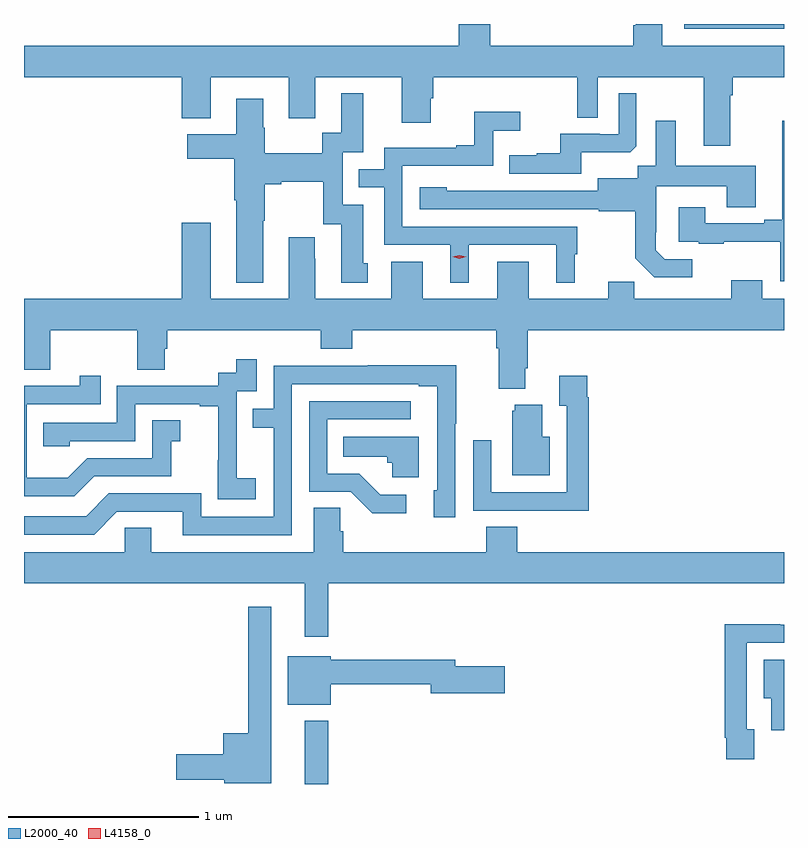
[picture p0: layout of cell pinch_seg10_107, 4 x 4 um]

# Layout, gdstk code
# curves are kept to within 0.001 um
import gdstk
lib = gdstk.Library(unit=1e-6, precision=1e-09)
def R(c, l, rs):  # rectangles x0, y0, x1, y1
    for r in rs: c.add(gdstk.rectangle(r[:2], r[2:], *l))
def P(c, l, *ps):  # polygons
    for p in ps: c.add(gdstk.Polygon(p, *l))
L2000_40 = (2000, 40)
L4158_0 = (4158, 0)

pinch_seg10_107 = lib.new_cell('pinch_seg10_107')
R(pinch_seg10_107, L2000_40, [(673.283,1289.935,673.405,1290.268), (675.279,1293.909,675.805,1293.935)])
P(pinch_seg10_107, L2000_40, [(675.523,1293.56),(675.536,1293.56),(675.536,1293.656),(675.805,1293.656),(675.805,1293.82),(675.163,1293.82),(675.163,1293.935),(675.024,1293.935),(675.024,1293.929),(675.011,1293.929),(675.011,1293.82),(674.258,1293.82),(674.258,1293.935),(674.093,1293.935),(674.093,1293.82),(671.805,1293.82),(671.805,1293.656),(672.635,1293.656),(672.635,1293.44),(672.787,1293.44),(672.787,1293.656),(673.199,1293.656),(673.199,1293.438),(673.339,1293.438),(673.339,1293.656),(673.793,1293.656),(673.793,1293.414),(673.945,1293.414),(673.945,1293.543),(673.958,1293.543),(673.958,1293.656),(674.718,1293.656),(674.718,1293.442),(674.826,1293.442),(674.826,1293.656),(675.383,1293.656),(675.383,1293.294),(675.523,1293.294)],
  [(674.737,1293.26),(674.995,1293.26),(675.027,1293.291),(675.027,1293.571),(674.934,1293.571),(674.934,1293.354),(674.834,1293.354),(674.834,1293.357),(674.627,1293.357),(674.627,1293.256),(674.503,1293.256),(674.503,1293.244),(674.359,1293.244),(674.359,1293.147),(674.737,1293.147)],
  [(673.063,1292.899),(673.071,1292.899),(673.071,1293.092),(673.159,1293.092),(673.159,1293.104),(673.379,1293.104),(673.379,1292.88),(673.475,1292.88),(673.475,1292.574),(673.615,1292.574),(673.615,1292.676),(673.591,1292.676),(673.591,1292.985),(673.482,1292.985),(673.482,1293.261),(673.591,1293.261),(673.591,1293.571),(673.475,1293.571),(673.475,1293.362),(673.374,1293.362),(673.374,1293.256),(673.071,1293.256),(673.071,1293.39),(673.063,1293.39),(673.063,1293.541),(672.923,1293.541),(672.923,1293.355),(672.663,1293.355),(672.663,1293.226),(672.911,1293.226),(672.911,1293.008),(672.923,1293.008),(672.923,1292.573),(673.063,1292.573)],
  [(674.146,1292.772),(674.606,1292.772),(674.606,1292.573),(674.704,1292.573),(674.704,1292.724),(674.716,1292.724),(674.716,1292.868),(673.797,1292.868),(673.797,1293.189),(674.274,1293.189),(674.274,1293.374),(674.416,1293.374),(674.416,1293.473),(674.176,1293.473),(674.176,1293.298),(674.081,1293.298),(674.081,1293.285),(673.701,1293.285),(673.701,1293.171),(673.567,1293.171),(673.567,1293.075),(673.701,1293.075),(673.701,1292.772),(674.048,1292.772),(674.048,1292.573),(674.146,1292.573)],
  [(675.322,1292.697),(675.177,1292.697),(675.13,1292.744),(675.13,1292.839),(675.132,1292.839),(675.132,1293.08),(675.503,1293.08),(675.503,1292.971),(675.655,1292.971),(675.655,1293.19),(675.235,1293.19),(675.235,1293.427),(675.131,1293.427),(675.131,1293.188),(675.036,1293.188),(675.036,1293.124),(674.825,1293.124),(674.825,1293.057),(674.031,1293.058),(674.031,1293.076),(673.887,1293.076),(673.887,1292.961),(674.829,1292.961),(674.829,1292.949),(675.021,1292.949),(675.021,1292.703),(675.121,1292.603),(675.322,1292.603)],
  [(675.805,1293.427),(675.797,1293.427),(675.797,1292.905),(675.701,1292.905),(675.701,1292.886),(675.391,1292.886),(675.391,1292.971),(675.251,1292.971),(675.251,1292.79),(675.355,1292.79),(675.355,1292.778),(675.487,1292.778),(675.487,1292.789),(675.786,1292.789),(675.786,1292.58),(675.805,1292.58)],
  [(674.443,1292.122),(674.456,1292.122),(674.456,1292.324),(675.805,1292.324),(675.805,1292.488),(675.691,1292.488),(675.691,1292.587),(675.527,1292.587),(675.527,1292.488),(675.017,1292.488),(675.017,1292.579),(674.879,1292.579),(674.879,1292.488),(674.461,1292.488),(674.461,1292.683),(674.297,1292.683),(674.297,1292.488),(673.903,1292.488),(673.903,1292.683),(673.739,1292.683),(673.739,1292.488),(673.339,1292.488),(673.339,1292.699),(673.336,1292.699),(673.336,1292.812),(673.199,1292.812),(673.199,1292.488),(672.787,1292.488),(672.787,1292.89),(672.635,1292.89),(672.635,1292.488),(671.805,1292.488),(671.805,1292.116),(671.943,1292.116),(671.943,1292.324),(672.4,1292.324),(672.4,1292.116),(672.547,1292.116),(672.547,1292.226),(672.56,1292.226),(672.56,1292.324),(673.367,1292.324),(673.367,1292.225),(673.532,1292.225),(673.532,1292.324),(674.291,1292.324),(674.291,1292.228),(674.303,1292.228),(674.303,1292.015),(674.443,1292.015)],
  [(673.024,1291.543),(672.926,1291.543),(672.926,1291.772),(672.924,1291.772),(672.924,1292.001),(673.029,1292.001),(673.029,1292.17),(672.921,1292.17),(672.921,1292.1),(672.828,1292.1),(672.828,1292.031),(672.294,1292.031),(672.294,1291.836),(671.905,1291.836),(671.905,1291.713),(672.045,1291.713),(672.045,1291.74),(672.39,1291.74),(672.39,1291.935),(672.731,1291.935),(672.731,1291.923),(672.827,1291.923),(672.827,1291.639),(672.826,1291.639),(672.826,1291.433),(673.024,1291.433)],
  [(673.215,1292.04),(673.883,1292.04),(673.883,1292.028),(673.98,1292.028),(673.98,1291.482),(673.961,1291.482),(673.961,1291.338),(674.076,1291.338),(674.076,1291.831),(674.079,1291.831),(674.079,1292.138),(673.615,1292.138),(673.615,1292.136),(673.119,1292.136),(673.119,1291.911),(673.009,1291.911),(673.009,1291.81),(673.119,1291.81),(673.119,1291.341),(672.738,1291.341),(672.738,1291.464),(672.252,1291.464),(672.132,1291.344),(671.805,1291.344),(671.805,1291.248),(672.174,1291.248),(672.294,1291.368),(672.641,1291.368),(672.641,1291.245),(673.215,1291.245)],
  [(672.175,1291.554),(672.579,1291.554),(672.579,1291.739),(672.628,1291.739),(672.628,1291.849),(672.48,1291.849),(672.48,1291.65),(672.138,1291.65),(672.034,1291.546),(671.82,1291.546),(671.82,1291.935),(672.209,1291.935),(672.209,1292.083),(672.098,1292.083),(672.098,1292.031),(671.805,1292.031),(671.805,1291.449),(672.07,1291.449)],
  [(674.777,1291.97),(674.77,1291.97),(674.77,1292.083),(674.621,1292.083),(674.621,1291.927),(674.661,1291.927),(674.661,1291.47),(674.265,1291.47),(674.265,1291.744),(674.169,1291.744),(674.169,1291.374),(674.485,1291.374),(674.485,1291.373),(674.777,1291.373)],
  [(673.816,1291.458),(673.681,1291.458),(673.57,1291.569),(673.401,1291.569),(673.401,1291.854),(673.84,1291.854),(673.84,1291.95),(673.305,1291.95),(673.305,1291.473),(673.524,1291.473),(673.637,1291.361),(673.816,1291.361)],
  [(674.572,1291.762),(674.533,1291.762),(674.533,1291.93),(674.387,1291.93),(674.387,1291.899),(674.375,1291.899),(674.375,1291.559),(674.572,1291.559)],
  [(673.882,1291.762),(673.486,1291.762),(673.486,1291.658),(673.717,1291.658),(673.717,1291.626),(673.743,1291.626),(673.743,1291.55),(673.882,1291.55)],
  [(673.405,1290.992),(675.805,1290.992),(675.805,1291.156),(674.402,1291.156),(674.402,1291.289),(674.237,1291.289),(674.237,1291.156),(673.484,1291.156),(673.484,1291.265),(673.47,1291.265),(673.47,1291.388),(673.331,1291.388),(673.331,1291.156),(672.475,1291.156),(672.475,1291.283),(672.336,1291.283),(672.336,1291.156),(671.805,1291.156),(671.805,1290.992),(673.283,1290.992),(673.283,1290.711),(673.405,1290.711)],
  [(673.105,1290.868),(672.984,1290.868),(672.984,1290.202),(672.854,1290.202),(672.854,1290.092),(672.606,1290.092),(672.606,1289.957),(672.858,1289.957),(672.858,1289.939),(673.105,1289.939)],
  [(675.649,1290.222),(675.609,1290.222),(675.609,1290.678),(675.805,1290.678),(675.805,1290.774),(675.785,1290.774),(675.785,1290.776),(675.493,1290.776),(675.493,1290.178),(675.501,1290.178),(675.501,1290.066),(675.649,1290.066)],
  [(673.42,1290.46),(673.946,1290.46),(673.946,1290.413),(674.335,1290.413),(674.335,1290.555),(674.074,1290.555),(674.074,1290.589),(673.42,1290.589),(673.42,1290.607),(673.193,1290.607),(673.193,1290.353),(673.42,1290.353)],
  [(675.805,1290.589),(675.698,1290.589),(675.698,1290.386),(675.737,1290.386),(675.737,1290.218),(675.805,1290.218)])
P(pinch_seg10_107, L4158_0, [(674.097,1292.699),(674.061,1292.709),(674.061,1292.709),(674.061,1292.71),(674.097,1292.719),(674.133,1292.71),(674.133,1292.709),(674.133,1292.709)])

lib.write_gds('pinch_seg10_107.gds')
